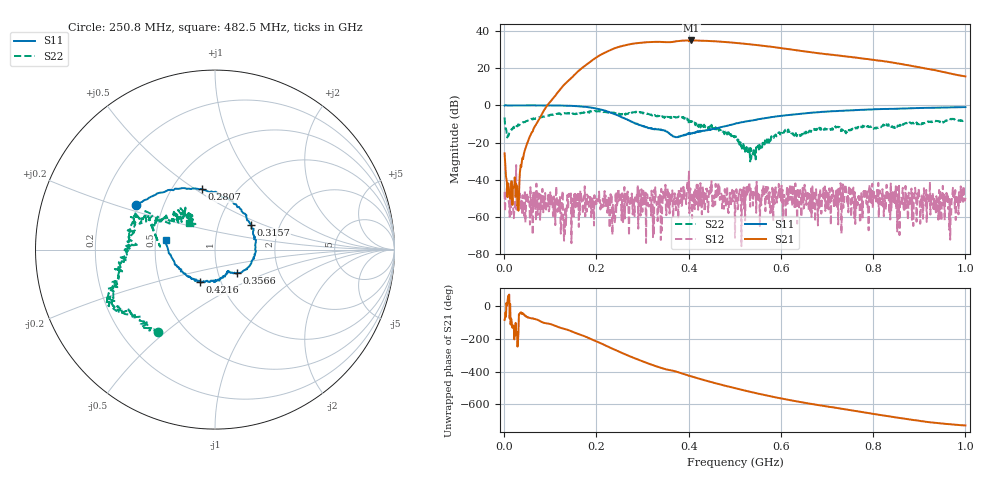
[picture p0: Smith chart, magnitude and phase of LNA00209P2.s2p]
! Created with skrf 1.9.0 (http://scikit-rf.org).
# Hz S RI R 50.0
!freq ReS11 ImS11 ReS21 ImS21 ReS12 ImS12 ReS22 ImS22
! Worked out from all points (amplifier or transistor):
!   1001 points, 1 MHz to 1 GHz, reference 50 ohm
!   highest |S21| = 34.8 dB at 405.6 MHz (marker M1)
!   |S21| within 3 dB of that: 255.8 MHz to 565.9 MHz (310.1 MHz wide, 75.5 % of centre)
!   unconditionally stable (mu >= 1): 187.9 MHz to 289.6 MHz; 289.8 MHz to 400.4 MHz; 400.7 MHz to end of sweep (the widest 3 of 15)
!   at 166.8 MHz: K = 1.08, MAG = 31.5 dB, |S12| = -46.9 dB
!   at 500.5 MHz: K = 33.19, MAG = 34.1 dB, |S12| = -71.1 dB
!   at 1 GHz: K = 4.55, MAG = 23.0 dB, |S12| = -49.7 dB
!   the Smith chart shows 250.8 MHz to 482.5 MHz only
!   S11 on the Smith chart (normalised r, x): 250.8 MHz: 0.35, +0.23; 280.7 MHz: 0.69, +0.53; 315.7 MHz: 1.42, +0.42; 356.6 MHz: 1.23, -0.33; 421.6 MHz: 0.79, -0.30; 482.5 MHz: 0.57, +0.06
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1000000  0.9818 0.009  0.00495 -0.0511  -0.00307 0.00367  0.3256 0.345
1.08892e8  0.5091 -0.8483  -0.7934 -1.495  -0.000319 -0.00112  0.4403 -0.3639
1.67833e8  -0.2487 -0.8908  -9.778 -0.5633  -0.00226 -0.00109  0.0455 -0.6308
2.12788e8  -0.6862 -0.31  -14.88 18.52  0.00167 0.000737  -0.2024 -0.6447
2.29771e8  -0.6445 -0.0216  -8.607 28.82  0.00211 0.00195  -0.2395 -0.6056
2.5075e8  -0.4412 0.2481  6.612 36.75  -0.00167 0.00291  -0.3203 -0.457
2.8072e8  -0.0747 0.3384  32.39 31.53  -0.00208 0.00268  -0.5589 -0.3211
3.15685e8  0.1991 0.1382  49.46 4.965  0.00123 0.00199  -0.542 -0.1636
3.34666e8  0.2277 -0.00667  49.12 -10.95  -0.00342 0.000911  -0.5073 -0.0361
3.56644e8  0.1229 -0.1302  42.44 -24.67  0.00234 -0.000105  -0.4821 0.081
3.79621e8  0.0697 -0.1283  36.8 -38.28  -0.00215 0.00272  -0.4546 0.1764
4.05595e8  -0.0114 -0.1757  19.24 -51.33  0.000431 0.00314  -0.3291 0.1768
4.21579e8  -0.0859 -0.1792  6.657 -53.64  -0.000547 0.00542  -0.2006 0.1687
4.49551e8  -0.2015 -0.099  -13.77 -50.88  0.00877 0.00289  -0.1926 0.2301
4.82518e8  -0.2743 0.0518  -31.29 -38.24  -0.00125 0.00447  -0.1435 0.1507
5.005e8  -0.2793 0.1534  -37.61 -29.21  0.000227 -0.000162  -0.0909 0.1116
5.4046e8  -0.1902 0.3506  -41.3 -8.27  0.00399 -0.00161  -0.0549 0.0289
5.88412e8  0.0241 0.4975  -33.99 11.23  0.000786 -0.00627  -0.1446 -0.0776
6.67333e8  0.4 0.492  -13.44 22.38  -0.000239 -0.00449  -0.2251 -0.0234
7.55245e8  0.6828 0.2718  2.932 19.19  -0.00125 -0.0054  -0.232 0.0485
8.34166e8  0.799 0.00892  10.15 10.36  -0.00256 -0.000316  -0.2924 -9.03e-05
1e9  0.7211 -0.528  5.852 -1.057  0.00326 -0.00043  -0.3055 0.2488
